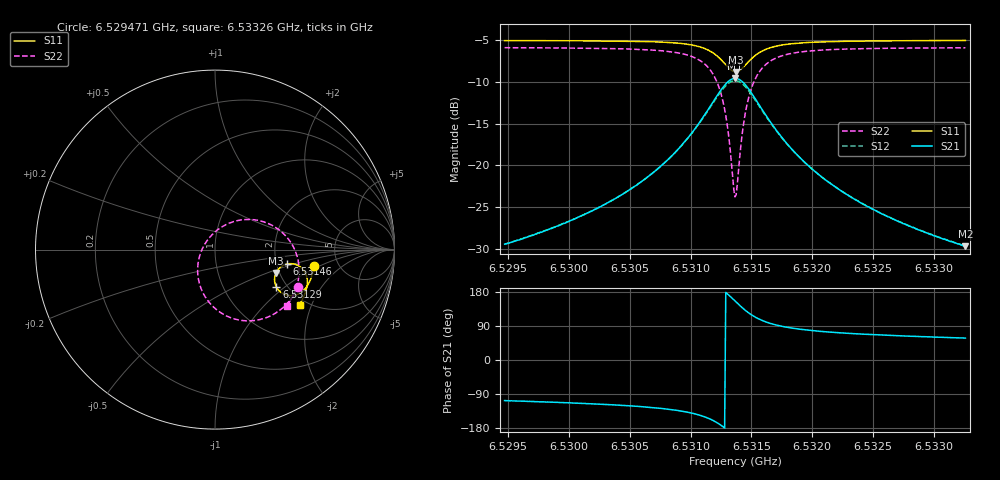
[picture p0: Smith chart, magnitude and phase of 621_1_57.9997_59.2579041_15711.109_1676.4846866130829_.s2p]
#  HZ  S  RI  R  50.00
! Rohde & Schwarz Vector Network Analyzer
! Rohde-Schwarz,ZNB20-2Port,1311601062101988,3.16
! Created: UTC 3/21/2024, 1:18:08 AM
! freq[Hz]  re:S11  im:S11  re:S21  im:S21  re:S12  im:S12  re:S22  im:S22
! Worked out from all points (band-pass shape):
!   401 points, 6.529471 GHz to 6.53326 GHz, reference 50 ohm
!   highest |S21| = -9.55 dB at 6.531365 GHz (marker M1); lowest = -29.7 dB at 6.53326 GHz (marker M2)
!   |S21| within 3 dB of the highest: 6.531178 GHz to 6.531556 GHz (378.4 kHz wide, 0.00579 % of centre)
!   lowest |S11| = -8.8 dB at 6.531375 GHz (marker M3), VSWR 2.14, Z = 95.8 - j28.8 ohm
!   |S11| at or under -10 dB: nowhere
!   |S22| runs from -23.8 to -5.9 dB; largest |S21 - S12| = 0.014
!   S11 on the Smith chart (normalised r, x): 6.529471 GHz: 3.29, -0.88; 6.53129 GHz: 1.76, -0.88; 6.53146 GHz: 2.27, -0.44; 6.53326 GHz: 1.83, -1.64
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6.5294708e9  0.5529 -0.092  -0.00994 -0.0323  -0.0106 -0.032  0.463 -0.2105
6.5301055e9  0.5401 -0.1455  -0.0206 -0.0456  -0.0218 -0.0451  0.4274 -0.2698
6.5304465e9  0.5276 -0.1779  -0.0337 -0.0587  -0.0353 -0.0578  0.3927 -0.3102
6.5307402e9  0.5084 -0.2107  -0.0585 -0.0772  -0.0607 -0.0755  0.3369 -0.3544
6.5309675e9  0.4769 -0.2406  -0.1051 -0.0972  -0.1081 -0.0931  0.2433 -0.3915
6.5311286e9  0.4272 -0.2569  -0.1825 -0.099  -0.1842 -0.0911  0.1035 -0.3847
6.5312233e9  0.3777 -0.2453  -0.2583 -0.062  -0.2558 -0.051  -0.0205 -0.3078
6.5312896e9  0.3425 -0.2093  -0.3082 0.0102  -0.2997 0.0205  -0.0897 -0.1775
6.531318e9  0.3337 -0.185  -0.3177 0.0548  -0.3068 0.0633  -0.0966 -0.1021
6.5313465e9  0.3323 -0.1576  -0.3143 0.104  -0.3018 0.1091  -0.0816 -0.0229
6.5313654e9  0.3364 -0.1392  -0.304 0.136  -0.2911 0.139  -0.0587 0.0275
6.5313749e9  0.3398 -0.1303  -0.2964 0.1512  -0.2837 0.153  -0.0434 0.0509
6.5313843e9  0.3442 -0.1219  -0.2873 0.1657  -0.2749 0.1663  -0.026 0.0725
6.5314317e9  0.3762 -0.0903  -0.2271 0.2187  -0.2175 0.2152  0.0815 0.1482
6.5314601e9  0.3988 -0.081  -0.1864 0.2336  -0.1791 0.2294  0.1514 0.166
6.5315264e9  0.446 -0.0818  -0.1045 0.2324  -0.101 0.2285  0.288 0.1488
6.5316212e9  0.4865 -0.1062  -0.0356 0.1958  -0.0339 0.1937  0.3983 0.0714
6.5317633e9  0.5092 -0.1446  0.00472 0.1434  0.00582 0.1426  0.4562 -0.0329
6.5320001e9  0.5144 -0.1895  0.0204 0.0929  0.0216 0.0926  0.4678 -0.1366
6.5322843e9  0.508 -0.2252  0.0223 0.0632  0.0233 0.0629  0.4557 -0.204
6.5326348e9  0.4959 -0.2587  0.0207 0.0444  0.0215 0.0439  0.4355 -0.2547
6.53326e9  0.4709 -0.3068  0.0174 0.0278  0.018 0.0275  0.4003 -0.3124
